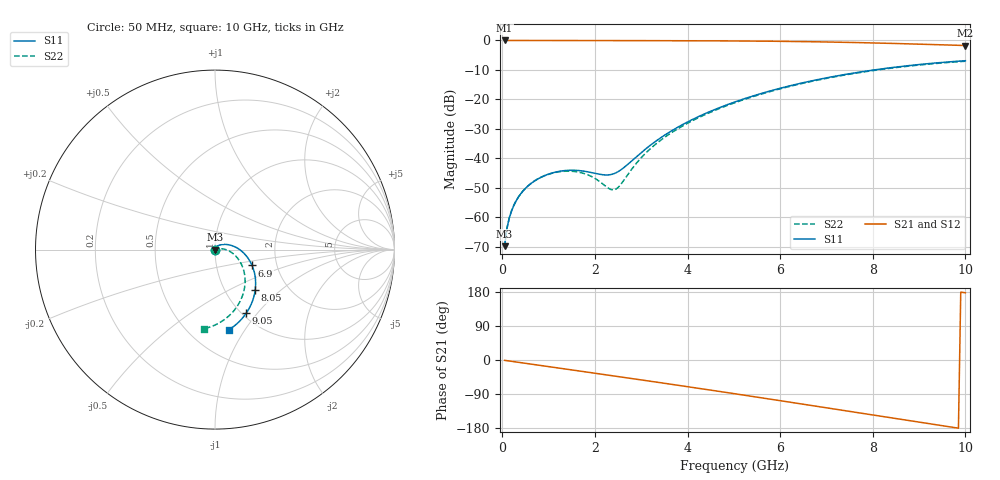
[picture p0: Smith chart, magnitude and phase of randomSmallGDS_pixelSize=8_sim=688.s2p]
! freq	dB(S11)	phase(S11)	dB(S12)	phase(S12)
!  dB(S21)	phase(S21)	dB(S22)	phase(S22)
!S-par simulation data
#  GHz  S  DB  R 50
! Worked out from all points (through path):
!   200 points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, 50 MHz to 10 GHz, reference 50 ohm
!   highest |S21| = 0.00 dB at 50 MHz (marker M1); lowest = -1.7 dB at 10 GHz (marker M2)
!   group delay of S21, straight-line fit = 51 ps
!   lowest |S11| = -69.7 dB at 50 MHz (marker M3), VSWR 1.00, Z = 50 - j0.0325 ohm
!   |S11| at or under -10 dB: start of sweep to 8.026 GHz
!   |S22| runs from -69.7 to -7.0 dB; largest |S21 - S12| = 0
!   S11 on the Smith chart (normalised r, x): 50 MHz: 1.00, -0.00; 6.9 GHz: 1.49, -0.28; 8.05 GHz: 1.38, -0.69; 9.05 GHz: 1.05, -0.88; 10 GHz: 0.75, -0.85
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0.05  -69.73 -85.6  -0.00 -0.9  -0.00 -0.9  -69.68 -85.0
0.1  -63.75 -89.8  -0.00 -1.8  -0.00 -1.8  -63.71 -88.5
0.2  -57.79 -93.9  -0.00 -3.5  -0.00 -3.5  -57.74 -91.3
0.35  -53.05 -98.5  -0.01 -6.1  -0.01 -6.1  -53.01 -94.0
0.55  -49.39 -104.3  -0.01 -9.6  -0.01 -9.6  -49.37 -96.9
0.8  -46.65 -111.7  -0.02 -14.0  -0.02 -14.0  -46.66 -100.2
1.1  -44.81 -121.2  -0.02 -19.2  -0.02 -19.2  -44.90 -103.6
1.45  -44.01 -134.5  -0.03 -25.3  -0.03 -25.3  -44.30 -106.2
1.75  -44.28 -149.8  -0.03 -30.5  -0.03 -30.5  -45.02 -105.7
2.3  -45.56 156.5  -0.04 -40.2  -0.04 -40.2  -50.17 -72.5
2.45  -44.90 135.0  -0.05 -42.8  -0.05 -42.8  -50.43 -42.0
3  -38.02 79.1  -0.06 -52.5  -0.06 -52.5  -39.75 10.1
3.4  -33.21 59.3  -0.07 -59.6  -0.07 -59.6  -34.06 12.0
4.1  -26.84 37.3  -0.10 -72.2  -0.10 -72.2  -27.24 5.4
5.05  -20.69 14.9  -0.17 -89.6  -0.17 -89.6  -20.93 -8.8
5.85  -16.83 -2.0  -0.27 -104.5  -0.27 -104.5  -17.03 -22.3
6.7  -13.63 -19.2  -0.44 -120.6  -0.44 -120.6  -13.80 -37.5
6.9  -12.98 -23.1  -0.49 -124.4  -0.49 -124.4  -13.15 -41.1
8.05  -9.95 -45.3  -0.85 -146.3  -0.85 -146.3  -10.11 -62.2
8.35  -9.32 -50.9  -0.97 -152.0  -0.97 -152.0  -9.48 -67.8
9.05  -8.08 -63.7  -1.27 -165.1  -1.27 -165.1  -8.25 -80.6
10  -6.86 -80.4  -1.72 177.3  -1.72 177.3  -7.04 -97.8
